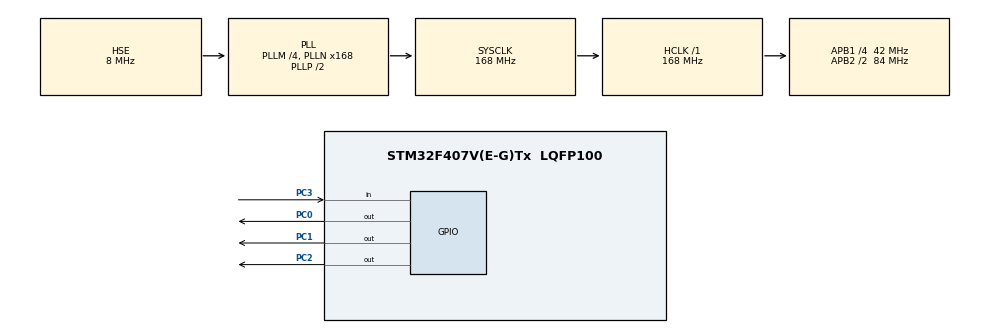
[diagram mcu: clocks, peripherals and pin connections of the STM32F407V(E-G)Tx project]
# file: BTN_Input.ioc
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Mcu.Family=STM32F4
Mcu.Name=STM32F407V(E-G)Tx
Mcu.Package=LQFP100
NVIC.PriorityGroup=NVIC_PRIORITYGROUP_4
PC0.GPIO_ModeDefaultOutputPP=GPIO_MODE_OUTPUT_PP
PC0.GPIO_PuPd=GPIO_PULLUP
PC0.PinState=GPIO_PIN_SET
PC0.Signal=GPIO_Output
PC1.GPIO_ModeDefaultOutputPP=GPIO_MODE_OUTPUT_PP
PC1.GPIO_PuPd=GPIO_PULLUP
PC1.PinState=GPIO_PIN_SET
PC1.Signal=GPIO_Output
PC14-OSC32_IN.Mode=LSE-External-Oscillator
PC14-OSC32_IN.Signal=RCC_OSC32_IN
PC15-OSC32_OUT.Mode=LSE-External-Oscillator
PC15-OSC32_OUT.Signal=RCC_OSC32_OUT
PC2.GPIO_ModeDefaultOutputPP=GPIO_MODE_OUTPUT_PP
PC2.GPIO_PuPd=GPIO_PULLUP
PC2.PinState=GPIO_PIN_SET
PC2.Signal=GPIO_Output
PC3.GPIO_PuPd=GPIO_PULLUP
PC3.Signal=GPIO_Input
PH0-OSC_IN.Mode=HSE-External-Oscillator
PH0-OSC_IN.Signal=RCC_OSC_IN
PH1-OSC_OUT.Mode=HSE-External-Oscillator
PH1-OSC_OUT.Signal=RCC_OSC_OUT
ProjectManager.HeapSize=0x200
ProjectManager.StackSize=0x400
ProjectManager.TargetToolchain=MDK-ARM V5
RCC.48MHZClocksFreq_Value=84000000
RCC.AHBFreq_Value=168000000
RCC.APB1CLKDivider=RCC_HCLK_DIV4
RCC.APB1Freq_Value=42000000
RCC.APB1TimFreq_Value=84000000
RCC.APB2CLKDivider=RCC_HCLK_DIV2
RCC.APB2Freq_Value=84000000
RCC.APB2TimFreq_Value=168000000
RCC.CortexFreq_Value=168000000
RCC.HCLKFreq_Value=168000000
RCC.HSE_VALUE=8000000
RCC.HSI_VALUE=16000000
RCC.PLLM=4
RCC.PLLN=168
RCC.PLLSourceVirtual=RCC_PLLSOURCE_HSE
RCC.SYSCLKFreq_VALUE=168000000
RCC.SYSCLKSource=RCC_SYSCLKSOURCE_PLLCLK
RCC.VCOOutputFreq_Value=336000000
board=custom

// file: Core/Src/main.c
/* USER CODE BEGIN Header */
/**
  ******************************************************************************
  * @file           : main.c
  * @brief          : Main program body
  ******************************************************************************
  * @attention
  *
  * Copyright (c) 2025 STMicroelectronics.
  * All rights reserved.
  *
  * This software is licensed under terms that can be found in the LICENSE file
  * in the root directory of this software component.
  * If no LICENSE file comes with this software, it is provided AS-IS.
  *
  ******************************************************************************
  */
/* USER CODE END Header */
#include "main.h"
#include "gpio.h"

/* USER CODE BEGIN Includes */
#include "ebtn.h"
#include "multiTimer.h"
/* USER CODE END Includes */

/* USER CODE BEGIN PTD */
MultiTimer mt_led, mt_key;
/* USER CODE END PTD */

/* USER CODE BEGIN PD */
#define MT_KEY_TIME       5   // 按键扫描时间
/* USER CODE END PD */

/* USER CODE BEGIN PM */
typedef enum {
    USER_BUTTON_0 = 0,
    USER_BUTTON_MAX,
} user_button_t;
/* USER CODE END PM */

/* USER CODE BEGIN PV */
uint8_t current_color = 0; // 0=红, 1=绿, 2=蓝

/* 按键参数配置(消抖时间), 连击间隔时间(连击判断), 长按开始时间(长按判断), 长按间隔时间,
   长按保持时间, 长按结束时间, 长按保持间隔时间 */
static const ebtn_btn_param_t defaul_ebtn_param = EBTN_PARAMS_INIT(20, 0, 20, 300, 200, 1000, 5);

/* USER CODE END PV */

void SystemClock_Config(void);

/* USER CODE BEGIN 0 */
static ebtn_btn_t btns[] = {
    EBTN_BUTTON_INIT(USER_BUTTON_0, &defaul_ebtn_param),
};

uint64_t bsp_timer_tick(void)
{
    return (uint64_t)HAL_GetTick();
}

uint8_t prv_btn_get_state(struct ebtn_btn *btn)
{
    switch(btn->key_id) {
        case USER_BUTTON_0:
            return !HAL_GPIO_ReadPin(GPIOC, GPIO_PIN_3);
        default:
            return 0;
    }
}

void prv_btn_event(struct ebtn_btn *btn, ebtn_evt_t evt)
{
    // 按键K1
    if((btn->key_id == USER_BUTTON_0) && evt == EBTN_EVT_ONCLICK &&(ebtn_click_get_count(btn) == 1)) {
        HAL_GPIO_TogglePin(GPIOC, GPIO_PIN_0);
    }
    else if((btn->key_id == USER_BUTTON_0) && (ebtn_click_get_count(btn) == 2)) {
        HAL_GPIO_TogglePin(GPIOC, GPIO_PIN_1);
    }
    else if((btn->key_id == USER_BUTTON_0) && evt == EBTN_EVT_KEEPALIVE) {
        HAL_GPIO_TogglePin(GPIOC, GPIO_PIN_2);
    }
}

void app_btn_init(void)
{
    ebtn_init(btns, EBTN_ARRAY_SIZE(btns), NULL, 0, prv_btn_get_state, prv_btn_event);
}

void mt_cb_key(MultiTimer* timer, void* userData)
{
    ebtn_process(HAL_GetTick());
    multiTimerStart(timer, MT_KEY_TIME, mt_cb_key, NULL);
}

/* USER CODE END 0 */

int main(void)
{

  /* USER CODE BEGIN 1 */
  multiTimerInstall(bsp_timer_tick);
  /* USER CODE END 1 */

  /* MCU Configuration--------------------------------------------------------*/

  /* Reset of all peripherals, Initializes the Flash interface and the Systick. */
  HAL_Init();

  /* Configure the system clock */
  SystemClock_Config();

  /* Initialize all configured peripherals */
  MX_GPIO_Init();

  /* Infinite loop */
  /* USER CODE BEGIN WHILE */
  app_btn_init();
  multiTimerStart(&mt_key,     MT_KEY_TIME,     mt_cb_key,        NULL);
  while (1)
  {
    /* USER CODE END WHILE */

    /* USER CODE BEGIN 3 */
    multiTimerYield();
  }
  /* USER CODE END 3 */
}

void SystemClock_Config(void)
{
  RCC_OscInitTypeDef RCC_OscInitStruct = {0};
  RCC_ClkInitTypeDef RCC_ClkInitStruct = {0};

  /** Configure the main internal regulator output voltage
  */
  __HAL_RCC_PWR_CLK_ENABLE();
  __HAL_PWR_VOLTAGESCALING_CONFIG(PWR_REGULATOR_VOLTAGE_SCALE1);

  /** Initializes the RCC Oscillators according to the specified parameters
  * in the RCC_OscInitTypeDef structure.
  */
  RCC_OscInitStruct.OscillatorType = RCC_OSCILLATORTYPE_HSE;
  RCC_OscInitStruct.HSEState = RCC_HSE_ON;
  RCC_OscInitStruct.PLL.PLLState = RCC_PLL_ON;
  RCC_OscInitStruct.PLL.PLLSource = RCC_PLLSOURCE_HSE;
  RCC_OscInitStruct.PLL.PLLM = 4;
  RCC_OscInitStruct.PLL.PLLN = 168;
  RCC_OscInitStruct.PLL.PLLP = RCC_PLLP_DIV2;
  RCC_OscInitStruct.PLL.PLLQ = 4;
  if (HAL_RCC_OscConfig(&RCC_OscInitStruct) != HAL_OK)
  {
    Error_Handler();
  }

  /** Initializes the CPU, AHB and APB buses clocks
  */
  RCC_ClkInitStruct.ClockType = RCC_CLOCKTYPE_HCLK|RCC_CLOCKTYPE_SYSCLK
                              |RCC_CLOCKTYPE_PCLK1|RCC_CLOCKTYPE_PCLK2;
  RCC_ClkInitStruct.SYSCLKSource = RCC_SYSCLKSOURCE_PLLCLK;
  RCC_ClkInitStruct.AHBCLKDivider = RCC_SYSCLK_DIV1;
  RCC_ClkInitStruct.APB1CLKDivider = RCC_HCLK_DIV4;
  RCC_ClkInitStruct.APB2CLKDivider = RCC_HCLK_DIV2;

  if (HAL_RCC_ClockConfig(&RCC_ClkInitStruct, FLASH_LATENCY_5) != HAL_OK)
  {
    Error_Handler();
  }
}

void Error_Handler(void)
{
  __disable_irq();
  while (1)
  {
  }
}
